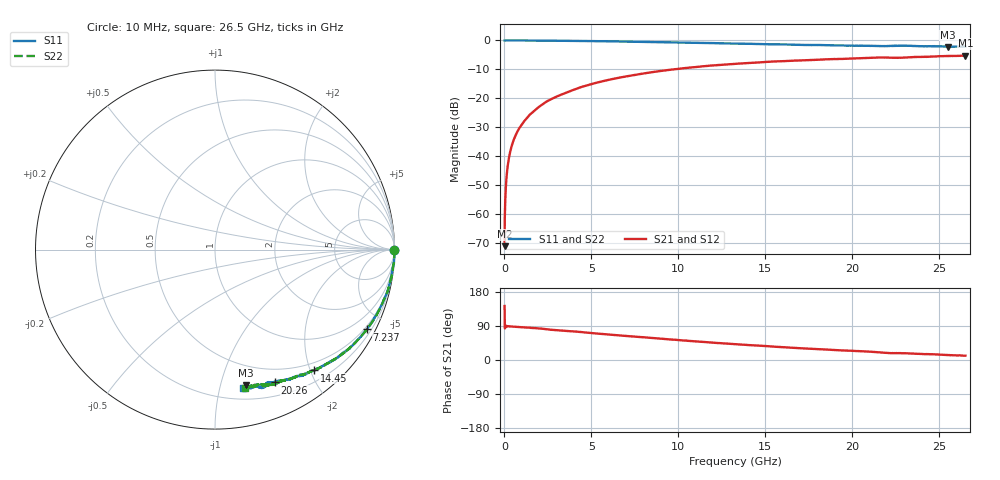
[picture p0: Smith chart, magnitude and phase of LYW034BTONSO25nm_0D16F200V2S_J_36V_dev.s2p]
!Keysight Technologies,N5222B,MY61253708,A.15.00.15
!Date: Wednesday, June 19, 2024 08:57:52
!Correction: S11(C  2-Port  )
!S21(C  2-Port  )
!S12(C  2-Port  )
!S22(C  2-Port  )
!S2P File: Measurements: S11, S21, S12, S22:
# Hz S  RI  R 50
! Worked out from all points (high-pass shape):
!   2651 points, 10 MHz to 26.5 GHz, reference 50 ohm
!   highest |S21| = -5.22 dB at 26.5 GHz (marker M1); lowest = -71.2 dB at 10 MHz (marker M2)
!   |S21| within 3 dB of the highest: 12.98 GHz to end of sweep
!   lowest |S11| = -2.2 dB at 25.5 GHz (marker M3), VSWR 7.90, Z = 15.9 - j60.2 ohm
!   |S11| at or under -10 dB: nowhere
!   |S22| runs from -2.1 to 0.0 dB; largest |S21 - S12| = 0.0076
!   S11 on the Smith chart (normalised r, x): 10 MHz: open; 7.237 GHz: 0.39, -4.01; 14.45 GHz: 0.37, -2.06; 20.26 GHz: 0.34, -1.49; 26.5 GHz: 0.29, -1.18
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1e7  0.9985 -0.00248  -0.000217 0.000167  -4e-05 0.000512  0.9988 -0.000922
7.997358e7  0.9998 -0.00584  2.78e-05 0.00284  1.35e-05 0.00287  0.9993 -0.00541
1.499472e8  0.9998 -0.0114  8.32e-05 0.00532  8.09e-05 0.00537  0.9995 -0.0107
1.899321e8  1 -0.0135  0.000117 0.00679  0.000108 0.00683  0.9997 -0.0127
2.499094e8  0.9993 -0.0182  0.000137 0.00889  0.000169 0.00895  0.9992 -0.0173
3.498717e8  0.9994 -0.0251  0.00033 0.0125  0.00035 0.0126  0.9994 -0.0241
4.798226e8  0.9986 -0.0344  0.000609 0.0171  0.000602 0.0172  0.9985 -0.0331
6.397623e8  0.9983 -0.0452  0.00103 0.0226  0.00106 0.0228  0.9982 -0.0441
8.296906e8  0.9975 -0.0583  0.00175 0.0293  0.00172 0.0295  0.9976 -0.0574
1.449457e9  0.9894 -0.1024  0.00416 0.0513  0.00422 0.0515  0.9919 -0.0985
2.329125e9  0.9792 -0.159  0.0116 0.083  0.0118 0.0835  0.9807 -0.1591
3.138819e9  0.9667 -0.213  0.0233 0.1086  0.0235 0.1093  0.9679 -0.211
4.428332e9  0.9354 -0.2926  0.0439 0.1502  0.0442 0.1511  0.9375 -0.2891
7.237272e9  0.8456 -0.4447  0.113 0.2181  0.1144 0.2189  0.8479 -0.4425
8.846664e9  0.783 -0.5158  0.1601 0.245  0.1614 0.2457  0.7857 -0.5131
1.3255e10  0.5987 -0.649  0.293 0.2623  0.2951 0.2623  0.6039 -0.6469
1.445455e10  0.5523 -0.6734  0.3238 0.2567  0.3257 0.2564  0.5567 -0.6679
1.767333e10  0.4227 -0.719  0.3988 0.2267  0.4021 0.2255  0.4362 -0.7165
2.026235e10  0.3343 -0.7399  0.4482 0.1961  0.4509 0.1938  0.3547 -0.74
2.209166e10  0.2897 -0.7438  0.478 0.1593  0.4795 0.1572  0.2864 -0.7509
2.550038e10  0.1734 -0.7555  0.5238 0.1194  0.5252 0.1205  0.196 -0.7612
2.65e10  0.1555 -0.7701  0.5372 0.1085  0.5361 0.1055  0.1698 -0.7704
